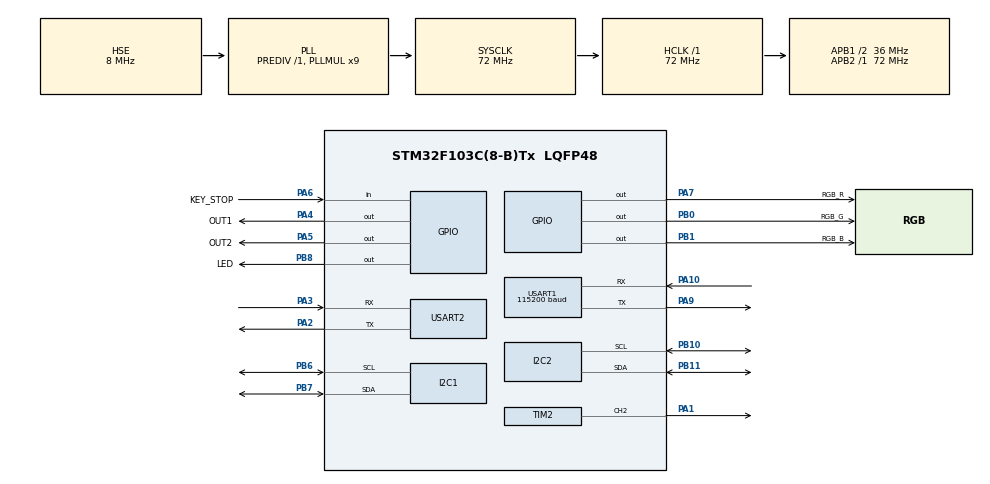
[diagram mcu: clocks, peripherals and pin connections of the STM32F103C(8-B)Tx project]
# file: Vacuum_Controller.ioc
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Dma.Request0=USART2_TX
Dma.USART2_TX.0.Direction=DMA_MEMORY_TO_PERIPH
Dma.USART2_TX.0.Instance=DMA1_Channel7
Dma.USART2_TX.0.MemDataAlignment=DMA_MDATAALIGN_BYTE
Dma.USART2_TX.0.MemInc=DMA_MINC_ENABLE
Dma.USART2_TX.0.Mode=DMA_NORMAL
Dma.USART2_TX.0.PeriphDataAlignment=DMA_PDATAALIGN_BYTE
Dma.USART2_TX.0.PeriphInc=DMA_PINC_DISABLE
Dma.USART2_TX.0.Priority=DMA_PRIORITY_LOW
Mcu.Family=STM32F1
Mcu.Name=STM32F103C(8-B)Tx
Mcu.Package=LQFP48
NVIC.DMA1_Channel7_IRQn=true\:0\:0\:false\:false\:true\:false\:true
NVIC.PriorityGroup=NVIC_PRIORITYGROUP_4
NVIC.TIM3_IRQn=true\:2\:0\:true\:false\:true\:true\:true
NVIC.TIM4_IRQn=true\:3\:0\:true\:false\:true\:true\:true
NVIC.USART1_IRQn=true\:1\:0\:true\:false\:true\:true\:true
NVIC.USART2_IRQn=true\:0\:0\:false\:false\:true\:true\:true
PA1.Signal=S_TIM2_CH2
PA10.Mode=Asynchronous
PA10.Signal=USART1_RX
PA13.Mode=Trace_Asynchronous_SW
PA13.Signal=SYS_JTMS-SWDIO
PA14.Mode=Trace_Asynchronous_SW
PA14.Signal=SYS_JTCK-SWCLK
PA2.Mode=Asynchronous
PA2.Signal=USART2_TX
PA3.Mode=Asynchronous
PA3.Signal=USART2_RX
PA4.GPIO_Label=OUT1
PA4.GPIO_PuPd=GPIO_PULLUP
PA4.PinState=GPIO_PIN_SET
PA4.Signal=GPIO_Output
PA5.GPIO_Label=OUT2
PA5.GPIO_PuPd=GPIO_PULLUP
PA5.PinState=GPIO_PIN_SET
PA5.Signal=GPIO_Output
PA6.GPIO_Label=KEY_STOP
PA6.Signal=GPIO_Input
PA7.GPIO_Label=RGB_R
PA7.GPIO_PuPd=GPIO_PULLUP
PA7.PinState=GPIO_PIN_SET
PA7.Signal=GPIO_Output
PA9.Mode=Asynchronous
PA9.Signal=USART1_TX
PB0.GPIO_Label=RGB_G
PB0.GPIO_PuPd=GPIO_PULLUP
PB0.PinState=GPIO_PIN_SET
PB0.Signal=GPIO_Output
PB1.GPIO_Label=RGB_B
PB1.GPIO_PuPd=GPIO_PULLUP
PB1.PinState=GPIO_PIN_SET
PB1.Signal=GPIO_Output
PB10.Mode=I2C
PB10.Signal=I2C2_SCL
PB11.Mode=I2C
PB11.Signal=I2C2_SDA
PB3.Mode=Trace_Asynchronous_SW
PB3.Signal=SYS_JTDO-TRACESWO
PB6.Mode=I2C
PB6.Signal=I2C1_SCL
PB7.Mode=I2C
PB7.Signal=I2C1_SDA
PB8.GPIO_Label=LED
PB8.GPIO_PuPd=GPIO_PULLUP
PB8.PinState=GPIO_PIN_SET
PB8.Signal=GPIO_Output
PD0-OSC_IN.Mode=HSE-External-Oscillator
PD0-OSC_IN.Signal=RCC_OSC_IN
PD1-OSC_OUT.Mode=HSE-External-Oscillator
PD1-OSC_OUT.Signal=RCC_OSC_OUT
ProjectManager.HeapSize=0x200
ProjectManager.StackSize=0x400
ProjectManager.TargetToolchain=MDK-ARM V5.27
RCC.AHBFreq_Value=72000000
RCC.APB1CLKDivider=RCC_HCLK_DIV2
RCC.APB1Freq_Value=36000000
RCC.APB1TimFreq_Value=72000000
RCC.APB2Freq_Value=72000000
RCC.APB2TimFreq_Value=72000000
RCC.HCLKFreq_Value=72000000
RCC.PLLMUL=RCC_PLL_MUL9
RCC.PLLSourceVirtual=RCC_PLLSOURCE_HSE
RCC.SYSCLKFreq_VALUE=72000000
RCC.SYSCLKSource=RCC_SYSCLKSOURCE_PLLCLK
RCC.USBFreq_Value=72000000
SH.S_TIM2_CH2.0=TIM2_CH2,PWM Generation2 CH2
TIM2.Channel-PWM\ Generation2\ CH2=TIM_CHANNEL_2
TIM2.Period=399
TIM2.Prescaler=7
TIM3.AutoReloadPreload=TIM_AUTORELOAD_PRELOAD_ENABLE
TIM3.Period=1999
TIM3.Prescaler=7199
TIM4.Period=99
TIM4.Prescaler=7199
USART1.BaudRate=115200
USART1.VirtualMode=VM_ASYNC
USART2.VirtualMode=VM_ASYNC
VP_TIM2_VS_ClockSourceINT.Mode=Internal
VP_TIM3_VS_ClockSourceINT.Mode=Internal
VP_TIM4_VS_ClockSourceINT.Mode=Internal
board=custom

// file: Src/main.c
/* USER CODE BEGIN Header */
/**
 ******************************************************************************
 * @file           : main.c
 * @brief          : Main program body
 ******************************************************************************
 * @attention
 *
 * <h2><center>&copy; Copyright (c) 2021 STMicroelectronics.
 * All rights reserved.</center></h2>
 *
 * This software component is licensed by ST under BSD 3-Clause license,
 * the "License"; You may not use this file except in compliance with the
 * License. You may obtain a copy of the License at:
 *                        opensource.org/licenses/BSD-3-Clause
 *
 ******************************************************************************
 */
/* USER CODE END Header */
#include "main.h"
#include "dma.h"
#include "i2c.h"
#include "tim.h"
#include "usart.h"
#include "gpio.h"
/* USER CODE BEGIN Includes */
#include "fuzzyPID.h"
/* USER CODE END Includes */

/* USER CODE BEGIN PTD */
#define DOF 1
int rule_base[][qf_default] = {
	//delta kp rule base
	{PB, PB, PM, PM, PS, ZO, ZO},
	{PB, PB, PM, PS, PS, ZO, NS},
	{PM, PM, PM, PS, ZO, NS, NS},
	{PM, PM, PS, ZO, NS, NM, NM},
	{PS, PS, ZO, NS, NS, NM, NM},
	{PS, ZO, NS, NM, NM, NM, NB},
	{ZO, ZO, NM, NM, NM, NB, NB},
	//delta ki rule base
	{NB, NB, NM, NM, NS, ZO, ZO},
	{NB, NB, NM, NS, NS, ZO, ZO},
	{NB, NM, NS, NS, ZO, PS, PS},
	{NM, NM, NS, ZO, PS, PM, PM},
	{NM, NS, ZO, PS, PS, PM, PB},
	{ZO, ZO, PS, PS, PM, PB, PB},
	{ZO, ZO, PS, PM, PM, PB, PB},
	//delta kd rule base
	{PS, NS, NB, NB, NB, NM, PS},
	{PS, NS, NB, NM, NM, NS, ZO},
	{ZO, NS, NM, NM, NS, NS, ZO},
	{ZO, NS, NS, NS, NS, NS, ZO},
	{ZO, ZO, ZO, ZO, ZO, ZO, ZO},
	{PB, PS, PS, PS, PS, PS, PB},
	{PB, PM, PM, PM, PS, PS, PB} };

// Default parameters of membership function
int mf_params[4 * qf_default] = { -3, -3, -2, 0,
								 -3, -2, -1, 0,
								 -2, -1,  0, 0,
								 -1,  0,  1, 0,
								  0,  1,  2, 0,
								  1,  2,  3, 0,
								  2,  3,  3, 0 };

// Default parameters of pid controller
float fuzzy_pid_params[DOF][pid_params_count] = { {1.27f,0.45f,0.2f,0,0,0,1} };

struct PID** pid_vector;
int control_id = 0;
float real = 0;
float idea = 100.0f;
bool direct[DOF] = { true};
/* USER CODE END PTD */

/* USER CODE BEGIN PV */
uint8_t usart1buff[10];
uint8_t usart2buff[10];
uint8_t count_updata;
uint8_t count_leak;
uint8_t count_time;
uint8_t count_hp5806;
uint8_t count_pid;
uint8_t current_proccess_event;
uint8_t flag_proccess_event;

/* USER CODE END PV */

void SystemClock_Config(void);

/* USER CODE BEGIN 0 */
void Monitor_modifications(void)
{
	//继电器模块
	RELAY_run(MCUsystem.relay_A);
	RELAY_run(MCUsystem.relay_B);
	if(count_time>=5)
	{//时间模块
		count_time=0;
		TIM_run(MCUsystem.time);
	}
	if(count_leak >= 5)
	{//泄漏监测
		count_leak = 0;
		LEAK_cheack();
	}
	if(count_updata>3)
	{//屏幕更新模块
		TOUCH_UpdataUI();
		count_updata=0;
	}
	if(count_hp5806>1)
	{//气压传感器模块
		count_hp5806=0;
		HP5806_run(MCUsystem.hp5806_A);
    HP5806_run(MCUsystem.hp5806_B);
		TOUCH_curve_write();
	}
	if(count_pid>=MCUsystem.control_time)
	{//pid模块
		count_pid=0;
		if(MCUsystem.system_status->current == 2)
		{
			if(MCUsystem.pid_mode == 0){
				PID_posRealize(MCUsystem.pid, (*MCUsystem.hp5806_A).Pcomp/100-MCUsystem.set_value, (*MCUsystem.hp5806_B).Pcomp/100);
				MCUsystem.output_value = (*MCUsystem.pid).voltage;
			}
			else {
				idea =  MCUsystem.set_value;
				real = (*MCUsystem.hp5806_A).Pcomp/100-(*MCUsystem.hp5806_B).Pcomp/100;
				MCUsystem.output_value = fuzzy_pid_motor_pwd_output(real, idea, direct[control_id], pid_vector[control_id]);
			}
		}
	}
	if(MCUsystem.system_status->current == 4)
	{//手动输出介入
		MCUsystem.output_value = MCUsystem.output_manual;
	}
	system_status_run();
}

int check_safe_event(PriorityQueue *pq, SafeEvent *currentSafeEvent)
{
	if(currentSafeEvent->data != current_proccess_event)
		{//来了一个新事件，且优先级高
			current_proccess_event = currentSafeEvent->data;
			flag_proccess_event = 1;
			return 1;
		}
		else if(flag_proccess_event)
		{//可能来了一个新事件，也可能是同个事件，内容一致，属于重复触发，且未处理完毕
			return 0;//等待处理
		}
		else
		{//理论上属于，来了一个新事件，但内容和上次一样，属于重复触发，上次事件处理完毕
			HEAP_pop(pq,currentSafeEvent);
			return 0;//就不应该执行，因为在事件结束后需要清空当前事件，所以处理完毕后c和f都为0;只有事件内容为0才可能触发
		}
}

/*
0x01: 温度上限 P：1
0x02: 温度下限 P：1
0x03: 气压上限 P：4
0x04: 气压下限 P：5
0x05: 管道泄漏 P：2
0x06: 设备初始化未通过 P：3
*/
uint8_t event_flag = 0;
void process_safe_event(PriorityQueue *pq)
{
	SafeEvent currentSafeEvent;
	if(HEAP_is_empty(pq))
	{
		current_proccess_event = 0x00;//无待处理的事件
		flag_proccess_event = 0;
		return;
	}
	HEAP_find_max(pq, &currentSafeEvent);
	//此处解析事件
	if(currentSafeEvent.data == 0x01)
	{
		if(check_safe_event(pq, &currentSafeEvent))
		{
			if(MCUsystem.system_status->current!=6)RGB_Change(MCUsystem.rgb,6);
			TOUCH_change_page(0x002D);
			TOUCH_safeEvent_Qt(currentSafeEvent.data);
		}
	}
	else if(currentSafeEvent.data == 0x02)
	{
		if(check_safe_event(pq, &currentSafeEvent))
		{
			if(MCUsystem.system_status->current!=6)RGB_Change(MCUsystem.rgb,6);
			TOUCH_change_page(0x002C);
			TOUCH_safeEvent_Qt(currentSafeEvent.data);
		}
	}
	else if(currentSafeEvent.data == 0x03)
	{
		if(check_safe_event(pq, &currentSafeEvent))
		{
			TOUCH_change_page(0x002F);
			TOUCH_safeEvent_Qt(currentSafeEvent.data);
			user_main_info("终止前压力测量结果为：%.2fhPa", MCUsystem.hp5806_B->Pcomp / 100);
			if(MCUsystem.system_status->current!=6){
				if(MCUsystem.system_status->current == 2 ||  MCUsystem.system_status->current == 3)
				{
					system_StatusSwitch(MCUsystem.system_status, 3);
					system_auto_pause();
					MCUsystem.system_status->flag_change = 0;
				}
				else if(MCUsystem.system_status->current == 4 ||  MCUsystem.system_status->current == 5)
				{
					system_StatusSwitch(MCUsystem.system_status, 5);
					system_manual_pause();
					MCUsystem.system_status->flag_change = 0;
				}
				else
				{
					system_StatusSwitch(MCUsystem.system_status, 1);
					system_into_prep();
					MCUsystem.system_status->flag_change = 0;
				}
			}
		if(MCUsystem.system_status->current!=6)RGB_Change(MCUsystem.rgb,4);
		}
	}
	else if(currentSafeEvent.data == 0x04)
	{
		if(check_safe_event(pq, &currentSafeEvent))
		{
			TOUCH_change_page(0x0030);
			TOUCH_safeEvent_Qt(currentSafeEvent.data);
			user_main_info("终止前压力测量结果为：%.2fhPa", MCUsystem.hp5806_B->Pcomp / 100);
			if(MCUsystem.system_status->current!=6){
				if(MCUsystem.system_status->current == 2 ||  MCUsystem.system_status->current == 3)
				{
					system_StatusSwitch(MCUsystem.system_status, 3);
					system_auto_pause();
					MCUsystem.system_status->flag_change = 0;
				}
				else if(MCUsystem.system_status->current == 4 ||  MCUsystem.system_status->current == 5)
				{
					system_StatusSwitch(MCUsystem.system_status, 5);
					system_manual_pause();
					MCUsystem.system_status->flag_change = 0;
				}
				else
				{
					system_StatusSwitch(MCUsystem.system_status, 1);
					system_into_prep();
					MCUsystem.system_status->flag_change = 0;
				}
			}
		if(MCUsystem.system_status->current!=6)RGB_Change(MCUsystem.rgb,4);
		}
	}
	else if(currentSafeEvent.data == 0x05)
	{
		if(check_safe_event(pq, &currentSafeEvent))
		{
			if(MCUsystem.system_status->current!=6)RGB_Change(MCUsystem.rgb,6);
			TOUCH_change_page(0x002B);
			TOUCH_safeEvent_Qt(currentSafeEvent.data);
		}
	}
}

/**
  * @brief  在FLASH中存储变量值，目前并不清楚这个程序有多大，能写到多少页，先定义在第127页中
  * @param  用STM32中FLASH存储空间模拟EEPROM的读写
  * @retval 参数：写入要存储的值
  */

typedef union
{
	float  float_data;
  uint32_t flash_data;
}f_uint32;

void FLASH_EEPROM_Write_config()
{
	uint32_t addr = 0x0800FC00;
  //1、解锁FLASH

		HAL_FLASH_Unlock();
    //2、擦除FLASH
    //初始化FLASH_EraseInitTypeDef
    FLASH_EraseInitTypeDef f;
    f.TypeErase = FLASH_TYPEERASE_PAGES;
    f.PageAddress = addr;
    f.NbPages = 1;
    //设置PageError
    uint32_t PageError = 0;
    //调用擦除函数
    HAL_FLASHEx_Erase(&f, &PageError);

	//3、对FLASH烧写
		f_uint32 tempflash;
		tempflash.flash_data = (uint32_t)(MCUsystem.pid_mode)&0x00000001;
    HAL_FLASH_Program(TYPEPROGRAM_WORD, addr, tempflash.flash_data);
		tempflash.flash_data = (uint32_t)(MCUsystem.control_time)&0x00000001;
		addr = addr+4;
    HAL_FLASH_Program(TYPEPROGRAM_WORD, addr, tempflash.flash_data);
		tempflash.float_data = MCUsystem.pid->Kp;
		addr = addr+4;
		HAL_FLASH_Program(TYPEPROGRAM_WORD, addr, tempflash.flash_data);
		tempflash.float_data = MCUsystem.pid->Ki;
		addr = addr+4;
		HAL_FLASH_Program(TYPEPROGRAM_WORD, addr, tempflash.flash_data);
		tempflash.float_data = MCUsystem.pid->Kd;
		addr = addr+4;
		HAL_FLASH_Program(TYPEPROGRAM_WORD, addr, tempflash.flash_data);
		tempflash.float_data = MCUsystem.delta_k;
		addr = addr+4;
		HAL_FLASH_Program(TYPEPROGRAM_WORD, addr, tempflash.flash_data);

    //4、锁住FLASH

		HAL_FLASH_Lock();
}
/**
  * @brief  读出存储地址中的内容
  * @param  用STM32中FLASH存储空间模拟EEPROM的读写
  * @retval 返回值：从FLASH中读出数据
  */
uint32_t FLASH_EEPROM_Read(uint8_t offset)
{
    HAL_FLASH_Unlock();
    uint32_t Page = 0;
    uint32_t addr = 0x0800FC00+ offset*4;;                  //写入的地址
    Page=*(__IO uint32_t*)addr;
    return Page;
}

/* USER CODE END 0 */

int main(void)
{

  /* MCU Configuration--------------------------------------------------------*/

  /* Reset of all peripherals, Initializes the Flash interface and the Systick. */
  HAL_Init();

  /* Configure the system clock */
  SystemClock_Config();

  /* Initialize all configured peripherals */
  MX_GPIO_Init();
  MX_DMA_Init();
  MX_I2C1_Init();
  MX_USART1_UART_Init();
  MX_I2C2_Init();
  MX_USART2_UART_Init();
  MX_TIM3_Init();
  MX_TIM4_Init();
  MX_TIM2_Init();
  /* USER CODE BEGIN 2 */
  HAL_Delay(1000); //需要给传感器上电进入状态一些时间，不然板载传感器会测不准
	safe_event_pq = HEAP_init(10); //容量为10的安全事件优先队列
	system_init();

	f_uint32 tempflash;

	MCUsystem.pid_mode = (uint8_t)(FLASH_EEPROM_Read(0)&0x00000001);
	MCUsystem.control_time = (uint8_t)(FLASH_EEPROM_Read(1)&0x00000001);
	tempflash.flash_data = FLASH_EEPROM_Read(2);
	MCUsystem.pid->Kp = tempflash.float_data;
	tempflash.flash_data = FLASH_EEPROM_Read(3);
	MCUsystem.pid->Ki = tempflash.float_data;
	tempflash.flash_data = FLASH_EEPROM_Read(4);
	MCUsystem.pid->Kd = tempflash.float_data;
	tempflash.flash_data = FLASH_EEPROM_Read(5);
	MCUsystem.delta_k = tempflash.float_data;

  user_main_info("GPIO,IIC1/2,USART1/2,TIM2/3/4初始化完成");
  user_main_info("定时器3中断开启，周期%.2fHz", 72000000.0 / (htim3.Instance->ARR + 1) / (htim3.Instance->PSC + 1));
  HAL_TIM_Base_Start_IT(&htim3);
  user_main_info("定时器4中断开启，周期%.2fHz", 72000000.0 / (htim4.Instance->ARR + 1) / (htim4.Instance->PSC + 1));
  HAL_TIM_Base_Start_IT(&htim4);
//	UART_Start_Receive_IT(&huart1, uint8_t *pData, uint16_t Size);
	HAL_UART_Receive_IT(&huart1, usart1buff, 1);
	HAL_UART_Receive_IT(&huart2, usart2buff, 1);
	TOUCH_Reste();
	fuzzy_pid_params[control_id][0] = MCUsystem.pid->Kp;
	fuzzy_pid_params[control_id][1] = MCUsystem.pid->Ki;
	fuzzy_pid_params[control_id][2] = MCUsystem.pid->Kd;
	pid_vector = fuzzy_pid_vector_init(fuzzy_pid_params, MCUsystem.delta_k, 2, 1, 0, mf_params, rule_base, DOF);
  HAL_Delay(2000);
  /* USER CODE END 2 */

  /* Infinite loop */
  while (1)
  {

    /* USER CODE BEGIN 3 */

		TOUCH_extract_command();
		Monitor_modifications();
		process_safe_event(safe_event_pq);
		//状态更新(本机发给上位机，轮询，上位机修改直接发送)，当前速度（直接发没啥问题），手自动速度（需要同步，同时发）
		PUMP_changeSpeed(MCUsystem.pump, MCUsystem.output_value);
  }
  /* USER CODE END 3 */
}

void SystemClock_Config(void)
{
  RCC_OscInitTypeDef RCC_OscInitStruct = {0};
  RCC_ClkInitTypeDef RCC_ClkInitStruct = {0};

  /** Initializes the RCC Oscillators according to the specified parameters
  * in the RCC_OscInitTypeDef structure.
  */
  RCC_OscInitStruct.OscillatorType = RCC_OSCILLATORTYPE_HSE;
  RCC_OscInitStruct.HSEState = RCC_HSE_ON;
  RCC_OscInitStruct.HSEPredivValue = RCC_HSE_PREDIV_DIV1;
  RCC_OscInitStruct.HSIState = RCC_HSI_ON;
  RCC_OscInitStruct.PLL.PLLState = RCC_PLL_ON;
  RCC_OscInitStruct.PLL.PLLSource = RCC_PLLSOURCE_HSE;
  RCC_OscInitStruct.PLL.PLLMUL = RCC_PLL_MUL9;
  if (HAL_RCC_OscConfig(&RCC_OscInitStruct) != HAL_OK)
  {
    Error_Handler();
  }
  /** Initializes the CPU, AHB and APB buses clocks
  */
  RCC_ClkInitStruct.ClockType = RCC_CLOCKTYPE_HCLK|RCC_CLOCKTYPE_SYSCLK
                              |RCC_CLOCKTYPE_PCLK1|RCC_CLOCKTYPE_PCLK2;
  RCC_ClkInitStruct.SYSCLKSource = RCC_SYSCLKSOURCE_PLLCLK;
  RCC_ClkInitStruct.AHBCLKDivider = RCC_SYSCLK_DIV1;
  RCC_ClkInitStruct.APB1CLKDivider = RCC_HCLK_DIV2;
  RCC_ClkInitStruct.APB2CLKDivider = RCC_HCLK_DIV1;

  if (HAL_RCC_ClockConfig(&RCC_ClkInitStruct, FLASH_LATENCY_2) != HAL_OK)
  {
    Error_Handler();
  }
}

void Error_Handler(void)
{
  __disable_irq();
  while (1)
  {
  }
}

/************************ (C) COPYRIGHT STMicroelectronics *****END OF FILE****/
